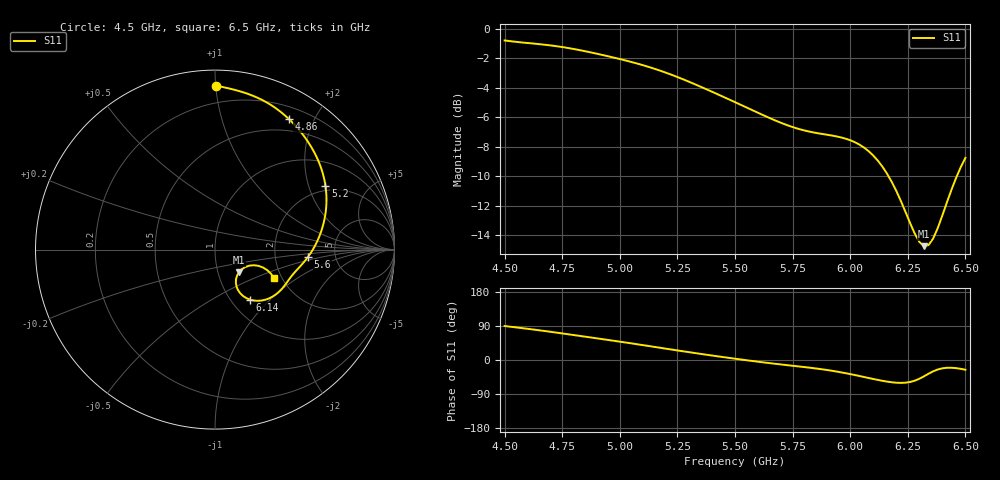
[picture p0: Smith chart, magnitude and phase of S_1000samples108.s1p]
! TOUCHSTONE file generated by CST MICROWAVE STUDIO
! Date and time: Thu Oct 27 00:39:44 2022
! Project name: L.cst
! Parameters = {Di=1.27; Epsilon_r=1.56; InnerDiameter=1.27; Length=2; Lf=10; Lg=60; OuterConductorThickness=0.2921; OuterDiameter=3.6; Wf=3; Wp=41.2; de=1.5; df=6.8; g=0.8; gx=0.951699; gy=4.28142; h=2.34; hf=1.524; px=10.2761; py=13.4012; w=9.7; wx=9.32444; wy=9.11981}
! Header version: 2018
! Port assignment regex: !\s*Touchstone port\s*([0-9]+)\s*=\s*(CST MWS port|CST DS port)\s*([0-9]+|Zmin|Zmax)\s*\(\"(.*)\"\)(\s*mode\s*([0-9]+))?.*
! Touchstone port assignment:
! Touchstone port 1 = CST MWS port 1 ("")
# GHz S DB R 50
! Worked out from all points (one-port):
!   101 points, 4.5 GHz to 6.5 GHz, reference 50 ohm
!   lowest |S11| = -14.7 dB at 6.32 GHz (marker M1), VSWR 1.45, Z = 63.1 - j16.4 ohm
!   |S11| at or under -10 dB: 6.167 GHz to 6.462 GHz (295.8 MHz wide, 4.68 % of centre)
!   S11 on the Smith chart (normalised r, x): 4.5 GHz: 0.09, +1.00; 4.86 GHz: 0.34, +1.66; 5.2 GHz: 1.81, +2.59; 5.6 GHz: 3.12, -0.35; 6.14 GHz: 1.22, -0.77; 6.5 GHz: 1.82, -0.67
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4.5  -0.79 89.6
4.64  -1.02 79.2
4.7  -1.12 74.4
4.76  -1.26 69.3
4.86  -1.55 60.7
4.92  -1.75 55.5
5  -2.05 48.4
5.1  -2.46 39.3
5.2  -2.97 29.9
5.26  -3.33 24.4
5.36  -3.99 15.3
5.5  -4.97 3.4
5.6  -5.69 -4.5
5.76  -6.71 -15.8
5.92  -7.23 -28.4
6  -7.55 -37.2
6.08  -8.29 -47.5
6.14  -9.34 -54.9
6.2  -10.98 -59.9
6.26  -13.16 -58.0
6.3  -14.44 -49.6
6.32  -14.73 -43.2
6.34  -14.65 -36.2
6.36  -14.21 -29.9
6.4  -12.65 -21.9
6.42  -11.75 -20.5
6.46  -10.09 -21.5
6.5  -8.74 -25.8
